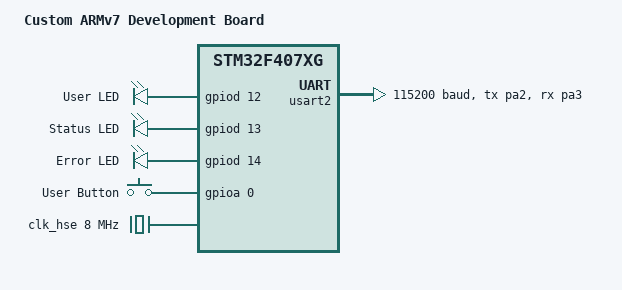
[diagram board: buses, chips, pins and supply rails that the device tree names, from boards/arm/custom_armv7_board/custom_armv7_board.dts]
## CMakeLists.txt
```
# SPDX-License-Identifier: Apache-2.0

# CMakeLists.txt - Main build configuration for Custom ARMv7 Hello World
#
# Build options:
#   -DUSE_CCACHE=ON        Enable ccache for faster rebuilds
#   -DUSE_RECLIENT=ON      Enable reclient for distributed builds
#   -DRECLIENT_CFG=<path>  Path to reclient config file

cmake_minimum_required(VERSION 3.20.0)

# =============================================================================
# Pre-project Configuration: ccache and reclient
# =============================================================================

# Option to enable ccache
option(USE_CCACHE "Use ccache for faster compilation" OFF)

# Option to enable reclient (Google's remote execution client)
option(USE_RECLIENT "Use reclient for remote execution" OFF)

# Path to reclient configuration
set(RECLIENT_CFG "" CACHE FILEPATH "Path to reclient configuration file")

# Path to reclient binaries (rewrapper, reproxy, bootstrap)
set(RECLIENT_BIN_DIR "" CACHE PATH "Path to reclient binary directory")

# Include our custom compiler wrapper module
include(${CMAKE_CURRENT_SOURCE_DIR}/cmake/compiler_cache.cmake OPTIONAL)

# Configure compiler launcher based on options
if(USE_RECLIENT AND USE_CCACHE)
    message(STATUS "Both reclient and ccache enabled - reclient takes precedence for remote builds")
    message(STATUS "Local cache will still be used via ccache inside reclient wrapper")
endif()

if(USE_RECLIENT)
    if(RECLIENT_BIN_DIR AND EXISTS "${RECLIENT_BIN_DIR}/rewrapper")
        set(REWRAPPER_PATH "${RECLIENT_BIN_DIR}/rewrapper")
    else()
        find_program(REWRAPPER_PATH rewrapper)
    endif()

    if(REWRAPPER_PATH)
        message(STATUS "Found rewrapper: ${REWRAPPER_PATH}")

        # Build the rewrapper command with config if provided
        if(RECLIENT_CFG AND EXISTS "${RECLIENT_CFG}")
            set(RECLIENT_WRAPPER "${REWRAPPER_PATH} --cfg=${RECLIENT_CFG}")
            message(STATUS "Using reclient config: ${RECLIENT_CFG}")
        else()
            set(RECLIENT_WRAPPER "${REWRAPPER_PATH}")
            message(STATUS "Using default reclient config")
        endif()

        # Set launcher rules for C and C++ compilers
        set(CMAKE_C_COMPILER_LAUNCHER_RULE "${RECLIENT_WRAPPER}")
        set(CMAKE_CXX_COMPILER_LAUNCHER_RULE "${RECLIENT_WRAPPER}")

        message(STATUS "Reclient enabled for remote compilation")
    else()
        message(WARNING "USE_RECLIENT enabled but rewrapper not found - falling back to local builds")
        set(USE_RECLIENT OFF)
    endif()
endif()

if(USE_CCACHE AND NOT USE_RECLIENT)
    find_program(CCACHE_PROGRAM ccache)
    if(CCACHE_PROGRAM)
        message(STATUS "Found ccache: ${CCACHE_PROGRAM}")
        set(CMAKE_C_COMPILER_LAUNCHER "${CCACHE_PROGRAM}")
        set(CMAKE_CXX_COMPILER_LAUNCHER "${CCACHE_PROGRAM}")
        message(STATUS "ccache enabled for local compilation caching")
    else()
        message(WARNING "USE_CCACHE enabled but ccache not found")
    endif()
endif()

# =============================================================================
# Zephyr Project Configuration
# =============================================================================

# Find the Zephyr package - set ZEPHYR_BASE environment variable or use west
find_package(Zephyr REQUIRED HINTS $ENV{ZEPHYR_BASE})

# Define the project
project(hello_armv7_custom
    VERSION 1.0.0
    DESCRIPTION "Hello World for Custom ARMv7 Board"
    LANGUAGES C CXX ASM
)

# =============================================================================
# Application Sources
# =============================================================================

# Add application source files
target_sources(app PRIVATE
    src/main.c
)

# Include directories
target_include_directories(app PRIVATE
    ${CMAKE_CURRENT_SOURCE_DIR}/src
)

# =============================================================================
# Build Information
# =============================================================================

# Print build configuration summary
message(STATUS "")
message(STATUS "=== Build Configuration Summary ===")
message(STATUS "Project: ${PROJECT_NAME} v${PROJECT_VERSION}")
message(STATUS "Board: ${BOARD}")
message(STATUS "Build Type: ${CMAKE_BUILD_TYPE}")
message(STATUS "Generator: ${CMAKE_GENERATOR}")
message(STATUS "C Compiler: ${CMAKE_C_COMPILER}")
message(STATUS "CXX Compiler: ${CMAKE_CXX_COMPILER}")
message(STATUS "ccache: ${USE_CCACHE}")
message(STATUS "reclient: ${USE_RECLIENT}")
message(STATUS "===================================")
message(STATUS "")
```

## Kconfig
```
# SPDX-License-Identifier: Apache-2.0

# Kconfig - Application-level configuration for Hello World

mainmenu "Custom ARMv7 Board Hello World Application"

# Source the Zephyr Kconfig to get all standard options
source "Kconfig.zephyr"

# Application-specific configuration menu
menu "Hello World Application Settings"

config HELLO_APP_VERSION
	string "Application version string"
	default "1.0.0"
	help
	  Version string for the hello world application.
	  This is displayed at startup in the banner.

config HELLO_BLINK_INTERVAL_MS
	int "LED blink interval in milliseconds"
	default 1000
	range 100 10000
	help
	  Sets the interval between LED state toggles.
	  Valid range is 100ms to 10000ms (10 seconds).
	  Default is 1000ms (1 second).

config HELLO_ENABLE_DEBUG_LOG
	bool "Enable debug logging"
	default n
	help
	  When enabled, additional debug information is printed
	  to the console. This increases code size slightly.

config HELLO_STARTUP_DELAY_MS
	int "Startup delay in milliseconds"
	default 0
	range 0 5000
	help
	  Optional delay before starting the main application loop.
	  Useful for debugging to allow console connection.

endmenu

# Custom board features menu
menu "Custom Board Features"

config BOARD_HAS_CUSTOM_FEATURES
	bool "Board has custom features"
	default y if BOARD_CUSTOM_ARMV7_BOARD
	help
	  Indicates this build is targeting the custom ARMv7 board
	  and custom features are available.

config CUSTOM_BOARD_LED_COUNT
	int "Number of LEDs on the board"
	default 3
	range 1 8
	depends on BOARD_HAS_CUSTOM_FEATURES
	help
	  Number of LEDs available on the custom board.
	  The default board has 3 LEDs (User, Status, Error).

config CUSTOM_BOARD_BUTTON_COUNT
	int "Number of buttons on the board"
	default 1
	range 0 4
	depends on BOARD_HAS_CUSTOM_FEATURES
	help
	  Number of buttons available on the custom board.
	  The default board has 1 user button.

endmenu
```

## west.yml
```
# SPDX-License-Identifier: Apache-2.0

# west.yml - West workspace manifest for Custom ARMv7 Hello World
#
# This manifest defines the Zephyr workspace and dependencies.
# Use with: west init -l . && west update

manifest:
  version: "1.0"

  # Default remote for Zephyr and related projects
  defaults:
    remote: zephyrproject-rtos

  # Git remotes
  remotes:
    - name: zephyrproject-rtos
      url-base: https://github.com/zephyrproject-rtos

  # Projects (dependencies)
  projects:
    # Main Zephyr RTOS repository
    - name: zephyr
      remote: zephyrproject-rtos
      revision: main
      import:
        # Import Zephyr's west.yml for HAL and other dependencies
        name-allowlist:
          - cmsis
          - hal_stm32
          - picolibc

  # Self (this repository)
  self:
    path: custom-app
    # Our boards directory is an "out of tree" board root
    west-commands: scripts/west-commands.yml
```

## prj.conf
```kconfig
# SPDX-License-Identifier: Apache-2.0

# Project Configuration for Hello World Application
# This file demonstrates Kconfig configuration modifications

# =============================================================================
# Core Kernel Settings
# =============================================================================

# Enable kernel statistics for debugging
CONFIG_KERNEL_BIN_NAME="hello_armv7"

# Stack sizes
CONFIG_MAIN_STACK_SIZE=2048
CONFIG_SYSTEM_WORKQUEUE_STACK_SIZE=1024

# =============================================================================
# Console and Logging
# =============================================================================

# Serial console settings
CONFIG_CONSOLE=y
CONFIG_UART_CONSOLE=y
CONFIG_SERIAL=y

# Logging subsystem
CONFIG_LOG=y
CONFIG_LOG_DEFAULT_LEVEL=3
CONFIG_LOG_BACKEND_UART=y
CONFIG_LOG_MODE_IMMEDIATE=y

# Printk settings
CONFIG_PRINTK=y
CONFIG_EARLY_CONSOLE=y

# =============================================================================
# GPIO and Hardware
# =============================================================================

# GPIO support for LEDs and buttons
CONFIG_GPIO=y

# Hardware floating point (Cortex-M4F)
CONFIG_FPU=y

# =============================================================================
# Application-Specific Settings (Kconfig Demo)
# =============================================================================

# Custom application version - demonstrating Kconfig string option
CONFIG_HELLO_APP_VERSION="1.0.0-custom"

# LED blink interval - demonstrating Kconfig integer option
CONFIG_HELLO_BLINK_INTERVAL_MS=500

# Enable debug logging - demonstrating Kconfig bool option
CONFIG_HELLO_ENABLE_DEBUG_LOG=y

# Custom board feature settings
CONFIG_CUSTOM_BOARD_LED_COUNT=3
CONFIG_CUSTOM_BOARD_BUTTON_COUNT=1

# =============================================================================
# Memory and Performance
# =============================================================================

# Heap configuration
CONFIG_HEAP_MEM_POOL_SIZE=1024

# Thread-aware debugging
CONFIG_DEBUG_THREAD_INFO=y

# =============================================================================
# Build Optimization
# =============================================================================

# Optimize for size (good for embedded)
CONFIG_SIZE_OPTIMIZATIONS=y

# Enable link-time optimization
CONFIG_LTO=n

# Compiler optimizations
CONFIG_COMPILER_OPT="-Os"
```

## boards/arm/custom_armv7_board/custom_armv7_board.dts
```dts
/*
 * SPDX-License-Identifier: Apache-2.0
 *
 * Device Tree Source for Custom ARMv7 Board
 *
 * This is an out-of-tree board definition based on STM32F407VG MCU
 * demonstrating custom hardware configuration for Zephyr RTOS.
 */

/dts-v1/;
#include <st/f4/stm32f407Xg.dtsi>
#include <st/f4/stm32f407vgtx-pinctrl.dtsi>

/ {
	model = "Custom ARMv7 Development Board";
	compatible = "custom,armv7-board";

	/* Define which SRAM/Flash the firmware uses */
	chosen {
		zephyr,console = &usart2;
		zephyr,shell-uart = &usart2;
		zephyr,sram = &sram0;
		zephyr,flash = &flash0;
		zephyr,ccm = &ccm0;
	};

	/* On-board LEDs */
	leds {
		compatible = "gpio-leds";

		/* User LED on PD12 (directly mapped) */
		user_led: led_0 {
			gpios = <&gpiod 12 GPIO_ACTIVE_HIGH>;
			label = "User LED";
		};

		/* Status LED on PD13 */
		status_led: led_1 {
			gpios = <&gpiod 13 GPIO_ACTIVE_HIGH>;
			label = "Status LED";
		};

		/* Error LED on PD14 */
		error_led: led_2 {
			gpios = <&gpiod 14 GPIO_ACTIVE_HIGH>;
			label = "Error LED";
		};
	};

	/* On-board buttons */
	gpio_keys {
		compatible = "gpio-keys";

		/* User button on PA0 */
		user_button: button_0 {
			gpios = <&gpioa 0 (GPIO_PULL_DOWN | GPIO_ACTIVE_HIGH)>;
			label = "User Button";
			zephyr,code = <INPUT_KEY_0>;
		};
	};

	/* Define aliases for easy access */
	aliases {
		led0 = &user_led;
		led1 = &status_led;
		led2 = &error_led;
		sw0 = &user_button;
	};
};

/* Enable USART2 for console (PA2=TX, PA3=RX) */
&usart2 {
	pinctrl-0 = <&usart2_tx_pa2 &usart2_rx_pa3>;
	pinctrl-names = "default";
	current-speed = <115200>;
	status = "okay";
};

/* Enable GPIO ports used by LEDs and buttons */
&gpioa {
	status = "okay";
};

&gpiod {
	status = "okay";
};

/* Configure the main system clock */
&clk_hse {
	clock-frequency = <DT_FREQ_M(8)>;
	status = "okay";
};

&pll {
	div-m = <8>;
	mul-n = <336>;
	div-p = <2>;
	div-q = <7>;
	clocks = <&clk_hse>;
	status = "okay";
};

&rcc {
	clocks = <&pll>;
	clock-frequency = <DT_FREQ_M(168)>;
	ahb-prescaler = <1>;
	apb1-prescaler = <4>;
	apb2-prescaler = <2>;
};

/* Flash controller */
&flash0 {
	partitions {
		compatible = "fixed-partitions";
		#address-cells = <1>;
		#size-cells = <1>;

		/* Bootloader region */
		boot_partition: partition@0 {
			label = "bootloader";
			reg = <0x00000000 0x00010000>;
			read-only;
		};

		/* Main application slot */
		slot0_partition: partition@10000 {
			label = "image-0";
			reg = <0x00010000 0x00070000>;
		};

		/* Secondary application slot for OTA */
		slot1_partition: partition@80000 {
			label = "image-1";
			reg = <0x00080000 0x00070000>;
		};

		/* Storage partition */
		storage_partition: partition@f0000 {
			label = "storage";
			reg = <0x000f0000 0x00010000>;
		};
	};
};
```

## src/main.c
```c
/*
 * SPDX-License-Identifier: Apache-2.0
 *
 * Hello World Application for Custom ARMv7 Board
 *
 * Demonstrates a simple Zephyr RTOS application running on a custom
 * out-of-tree board definition. This sample showcases:
 * - Basic console output
 * - LED blinking using GPIO
 * - Kconfig-based configuration
 * - Device tree integration
 */

#include <zephyr/kernel.h>
#include <zephyr/device.h>
#include <zephyr/devicetree.h>
#include <zephyr/drivers/gpio.h>
#include <zephyr/sys/printk.h>

/* Get LED0 node from device tree - the user LED on our custom board */
#define LED0_NODE DT_ALIAS(led0)

#if !DT_NODE_HAS_STATUS(LED0_NODE, okay)
#error "LED0 device tree node is not available"
#endif

/* LED GPIO specification from device tree */
static const struct gpio_dt_spec led = GPIO_DT_SPEC_GET(LED0_NODE, gpios);

/* Configurable blink interval from Kconfig */
#if defined(CONFIG_HELLO_BLINK_INTERVAL_MS)
#define BLINK_INTERVAL_MS CONFIG_HELLO_BLINK_INTERVAL_MS
#else
#define BLINK_INTERVAL_MS 1000
#endif

/* Application version string from Kconfig */
#if defined(CONFIG_HELLO_APP_VERSION)
#define APP_VERSION CONFIG_HELLO_APP_VERSION
#else
#define APP_VERSION "1.0.0"
#endif

/* Debug logging control from Kconfig */
#if defined(CONFIG_HELLO_ENABLE_DEBUG_LOG)
#define DEBUG_LOG(fmt, ...) printk("[DEBUG] " fmt "\n", ##__VA_ARGS__)
#else
#define DEBUG_LOG(fmt, ...)
#endif

/**
 * @brief Initialize the LED GPIO
 *
 * @return 0 on success, negative error code otherwise
 */
static int led_init(void)
{
	int ret;

	if (!gpio_is_ready_dt(&led)) {
		printk("Error: LED device %s is not ready\n", led.port->name);
		return -ENODEV;
	}

	ret = gpio_pin_configure_dt(&led, GPIO_OUTPUT_ACTIVE);
	if (ret < 0) {
		printk("Error %d: failed to configure LED pin\n", ret);
		return ret;
	}

	DEBUG_LOG("LED initialized on %s pin %d", led.port->name, led.pin);
	return 0;
}

/**
 * @brief Print system information
 */
static void print_system_info(void)
{
	printk("\n");
	printk("========================================\n");
	printk("   Custom ARMv7 Board - Hello World\n");
	printk("========================================\n");
	printk("\n");
	printk("Application Version: %s\n", APP_VERSION);
	printk("Zephyr Version: %s\n", KERNEL_VERSION_STRING);
	printk("Board: %s\n", CONFIG_BOARD);
	printk("SoC: %s\n", CONFIG_SOC);
	printk("Blink Interval: %d ms\n", BLINK_INTERVAL_MS);
#if defined(CONFIG_HELLO_ENABLE_DEBUG_LOG)
	printk("Debug Logging: Enabled\n");
#else
	printk("Debug Logging: Disabled\n");
#endif
	printk("\n");
}

/**
 * @brief Main application entry point
 */
int main(void)
{
	int ret;
	int led_state = 0;
	uint32_t count = 0;

	/* Print startup banner */
	print_system_info();

	printk("Hello World from Custom ARMv7 Board!\n");
	printk("This firmware demonstrates an out-of-tree Zephyr project.\n\n");

	/* Initialize LED */
	ret = led_init();
	if (ret < 0) {
		printk("Warning: LED initialization failed, continuing without LED\n");
	}

	/* Main loop - blink LED and print status */
	while (1) {
		if (ret == 0) {
			/* Toggle LED state */
			led_state = !led_state;
			gpio_pin_set_dt(&led, led_state);
		}

		count++;
		printk("Loop iteration %u, LED state: %s\n",
		       count, led_state ? "ON" : "OFF");

		DEBUG_LOG("Sleeping for %d ms", BLINK_INTERVAL_MS);
		k_msleep(BLINK_INTERVAL_MS);
	}

	return 0;
}
```
